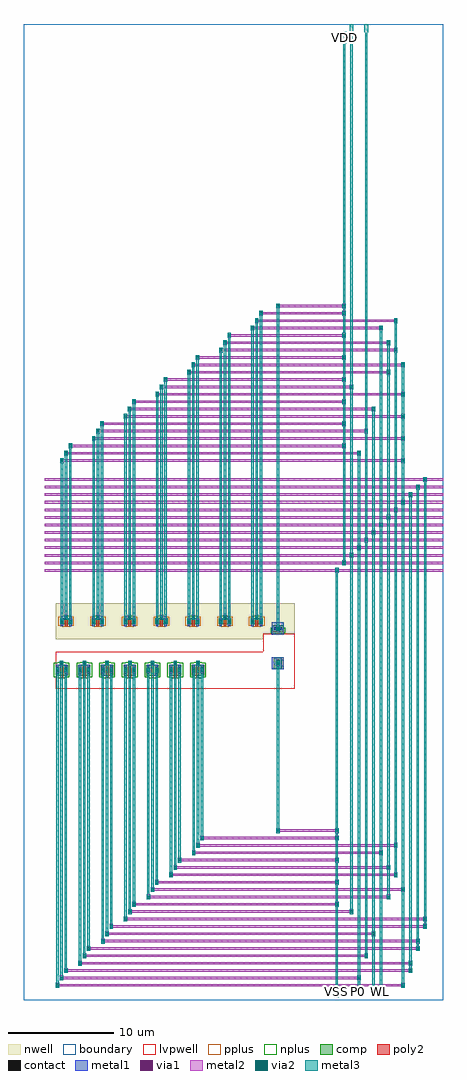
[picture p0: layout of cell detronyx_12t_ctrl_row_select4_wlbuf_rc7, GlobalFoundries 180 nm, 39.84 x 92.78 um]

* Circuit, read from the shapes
.subckt detronyx_12t_ctrl_row_select4_wlbuf_rc7 EN P0 P1 P2 VDD VSS WL
XM1 n1 P0 n2 VSS nfet_03v3 w=1.055u l=0.28u
XM2 n3 P1 n1 VSS nfet_03v3 w=1.055u l=0.28u
XM3 n4 P2 n3 VSS nfet_03v3 w=1.055u l=0.28u
XM4 VSS EN n4 VSS nfet_03v3 w=1.055u l=0.28u
XM5 VSS n2 n5 VSS nfet_03v3 w=1.055u l=0.28u
XM6 VSS n5 n6 VSS nfet_03v3 w=1.055u l=0.28u
XM7 VSS n6 WL VSS nfet_03v3 w=1.055u l=0.28u
XM8 VDD P0 n2 VDD pfet_03v3 w=0.56u l=0.2779u
XM9 VDD P1 n2 VDD pfet_03v3 w=0.56u l=0.2779u
XM10 VDD P2 n2 VDD pfet_03v3 w=0.56u l=0.2779u
XM11 VDD EN n2 VDD pfet_03v3 w=0.56u l=0.2779u
XM12 VDD n2 n5 VDD pfet_03v3 w=0.56u l=0.2779u
XM13 VDD n5 n6 VDD pfet_03v3 w=0.56u l=0.2779u
XM14 VDD n6 WL VDD pfet_03v3 w=0.56u l=0.2779u
.ends

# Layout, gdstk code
import gdstk
lib = gdstk.Library(unit=1e-6, precision=1e-09)
def R(c, l, rs):  # rectangles x0, y0, x1, y1
    for r in rs: c.add(gdstk.rectangle(r[:2], r[2:], *l))
def A(c, l, x, y, w, h, nx, ny, dx, dy):  # array of equal rectangles
    R(c, l, [(x+i*dx, y+j*dy, x+i*dx+w, y+j*dy+h) for i in range(nx) for j in range(ny)])
boundary = (0, 0)
nwell = (21, 0)
comp = (22, 0)
poly2 = (30, 0)
pplus = (31, 0)
nplus = (32, 0)
contact = (33, 0)
metal1 = (34, 0)
via1 = (35, 0)
metal2 = (36, 0)
via2 = (38, 0)
metal3 = (42, 0)
lvpwell = (204, 0)

detronyx_12t_ctrl_row_se = lib.new_cell('detronyx_12t_ctrl_row_select4_wlbuf_rc7')
R(detronyx_12t_ctrl_row_se, boundary, [(0,0,39.84,92.775)])
R(detronyx_12t_ctrl_row_se, nwell, [(3,34.295,22.74,34.8), (3,34.8,25.74,37.715)])
A(detronyx_12t_ctrl_row_se, comp, 3, 30.82, 1.16, 1.055, 7, 1, 2.16, 0)
A(detronyx_12t_ctrl_row_se, comp, 3.43, 35.725, 1.16, 0.555, 7, 1, 3.02, 0)
R(detronyx_12t_ctrl_row_se, comp, [(23.765,31.475,24.515,32.525), (23.615,35.015,24.665,35.615), (3.43,36.28,3.895,36.285), (4.125,36.28,4.59,36.285), (6.45,36.28,6.915,36.285), (7.145,36.28,7.61,36.285), (9.47,36.28,9.935,36.285), (10.165,36.28,10.63,36.285), (12.49,36.28,12.955,36.285), (13.185,36.28,13.65,36.285), (15.51,36.28,15.975,36.285), (16.205,36.28,16.67,36.285), (18.53,36.28,18.995,36.285), (19.225,36.28,19.69,36.285), (21.55,36.28,22.015,36.285), (22.245,36.28,22.71,36.285)])
A(detronyx_12t_ctrl_row_se, poly2, 3.44, 30.6, 0.28, 1.55, 7, 1, 2.16, 0)
A(detronyx_12t_ctrl_row_se, poly2, 3.87, 35.505, 0.28, 1.04, 7, 1, 3.02, 0)
A(detronyx_12t_ctrl_row_se, pplus, 3.64, 35.495, 0.74, 0.07, 7, 2, 3.02, 0.95)
A(detronyx_12t_ctrl_row_se, pplus, 3.27, 35.565, 1.48, 0.88, 7, 1, 3.02, 0)
R(detronyx_12t_ctrl_row_se, pplus, [(23.745,31.455,24.535,32.545)])
A(detronyx_12t_ctrl_row_se, nplus, 3.21, 30.59, 0.74, 0.07, 7, 2, 2.16, 1.445)
A(detronyx_12t_ctrl_row_se, nplus, 2.84, 30.66, 1.48, 1.375, 7, 1, 2.16, 0)
R(detronyx_12t_ctrl_row_se, nplus, [(23.455,34.855,24.825,35.39), (23.595,35.39,24.685,35.635)])
A(detronyx_12t_ctrl_row_se, contact, 3.47, 31.89, 0.22, 0.22, 7, 1, 2.16, 0)
A(detronyx_12t_ctrl_row_se, contact, 3.9, 36.285, 0.22, 0.22, 7, 1, 3.02, 0)
R(detronyx_12t_ctrl_row_se, contact, [(3.07,31,3.29,31.22), (3.87,31,4.09,31.22), (5.23,31,5.45,31.22), (6.03,31,6.25,31.22), (7.39,31,7.61,31.22), (8.19,31,8.41,31.22), (9.55,31,9.77,31.22), (10.35,31,10.57,31.22), (11.71,31,11.93,31.22), (12.51,31,12.73,31.22), (13.87,31,14.09,31.22), (14.67,31,14.89,31.22), (16.03,31,16.25,31.22), (16.83,31,17.05,31.22), (3.07,31.47,3.29,31.69), (3.87,31.47,4.09,31.69), (5.23,31.47,5.45,31.69), (6.03,31.47,6.25,31.69), (7.39,31.47,7.61,31.69), (8.19,31.47,8.41,31.69), (9.55,31.47,9.77,31.69), (10.35,31.47,10.57,31.69), (11.71,31.47,11.93,31.69), (12.51,31.47,12.73,31.69), (13.87,31.47,14.09,31.69), (14.67,31.47,14.89,31.69), (16.03,31.47,16.25,31.69), (16.83,31.47,17.05,31.69), (24.03,31.655,24.25,31.875), (24.03,32.125,24.25,32.345), (23.795,35.205,24.015,35.425), (24.265,35.205,24.485,35.425), (3.5,35.895,3.72,36.115), (4.3,35.895,4.52,36.115), (6.52,35.895,6.74,36.115), (7.32,35.895,7.54,36.115), (9.54,35.895,9.76,36.115), (10.34,35.895,10.56,36.115), (12.56,35.895,12.78,36.115), (13.36,35.895,13.58,36.115), (15.58,35.895,15.8,36.115), (16.38,35.895,16.6,36.115), (18.6,35.895,18.82,36.115), (19.4,35.895,19.62,36.115), (21.62,35.895,21.84,36.115), (22.42,35.895,22.64,36.115)])
A(detronyx_12t_ctrl_row_se, metal1, 3.42, 31.77, 0.325, 0.46, 7, 1, 2.16, 0)
A(detronyx_12t_ctrl_row_se, metal1, 3.85, 36.165, 0.325, 0.46, 7, 1, 3.02, 0)
R(detronyx_12t_ctrl_row_se, metal1, [(3.065,30.82,3.295,31.115), (3.865,30.82,4.095,31.115), (5.225,30.82,5.455,31.115), (6.025,30.82,6.255,31.115), (7.385,30.82,7.615,31.115), (8.185,30.82,8.415,31.115), (9.545,30.82,9.775,31.115), (10.345,30.82,10.575,31.115), (11.705,30.82,11.935,31.115), (12.505,30.82,12.735,31.115), (13.865,30.82,14.095,31.115), (14.665,30.82,14.895,31.115), (16.025,30.82,16.255,31.115), (16.825,30.82,17.055,31.115), (3.02,31.115,3.345,31.575), (3.82,31.115,4.145,31.575), (5.18,31.115,5.505,31.575), (5.98,31.115,6.305,31.575), (7.34,31.115,7.665,31.575), (8.14,31.115,8.465,31.575), (9.5,31.115,9.825,31.575), (10.3,31.115,10.625,31.575), (11.66,31.115,11.985,31.575), (12.46,31.115,12.785,31.575), (13.82,31.115,14.145,31.575), (14.62,31.115,14.945,31.575), (15.98,31.115,16.305,31.575), (16.78,31.115,17.105,31.575), (23.565,31.425,24.715,32.575), (3.065,31.575,3.295,31.875), (3.865,31.575,4.095,31.875), (5.225,31.575,5.455,31.875), (6.025,31.575,6.255,31.875), (7.385,31.575,7.615,31.875), (8.185,31.575,8.415,31.875), (9.545,31.575,9.775,31.875), (10.345,31.575,10.575,31.875), (11.705,31.575,11.935,31.875), (12.505,31.575,12.735,31.875), (13.865,31.575,14.095,31.875), (14.665,31.575,14.895,31.875), (16.025,31.575,16.255,31.875), (16.825,31.575,17.055,31.875), (23.565,34.74,24.715,35.89), (3.495,35.53,3.725,35.775), (4.295,35.53,4.525,35.775), (6.515,35.53,6.745,35.775), (7.315,35.53,7.545,35.775), (9.535,35.53,9.765,35.775), (10.335,35.53,10.565,35.775), (12.555,35.53,12.785,35.775), (13.355,35.53,13.585,35.775), (15.575,35.53,15.805,35.775), (16.375,35.53,16.605,35.775), (18.595,35.53,18.825,35.775), (19.395,35.53,19.625,35.775), (21.615,35.53,21.845,35.775), (22.415,35.53,22.645,35.775), (3.45,35.775,3.775,36.235), (4.25,35.775,4.575,36.235), (6.47,35.775,6.795,36.235), (7.27,35.775,7.595,36.235), (9.49,35.775,9.815,36.235), (10.29,35.775,10.615,36.235), (12.51,35.775,12.835,36.235), (13.31,35.775,13.635,36.235), (15.53,35.775,15.855,36.235), (16.33,35.775,16.655,36.235), (18.55,35.775,18.875,36.235), (19.35,35.775,19.675,36.235), (21.57,35.775,21.895,36.235), (22.37,35.775,22.695,36.235), (3.495,36.235,3.725,36.48), (4.295,36.235,4.525,36.48), (6.515,36.235,6.745,36.48), (7.315,36.235,7.545,36.48), (9.535,36.235,9.765,36.48), (10.335,36.235,10.565,36.48), (12.555,36.235,12.785,36.48), (13.355,36.235,13.585,36.48), (15.575,36.235,15.805,36.48), (16.375,36.235,16.605,36.48), (18.595,36.235,18.825,36.48), (19.395,36.235,19.625,36.48), (21.615,36.235,21.845,36.48), (22.415,36.235,22.645,36.48)])
A(detronyx_12t_ctrl_row_se, via1, 3.45, 31.87, 0.26, 0.26, 7, 1, 2.16, 0)
A(detronyx_12t_ctrl_row_se, via1, 3.88, 36.265, 0.26, 0.26, 7, 1, 3.02, 0)
R(detronyx_12t_ctrl_row_se, via1, [(3.05,31.215,3.31,31.475), (3.85,31.215,4.11,31.475), (5.21,31.215,5.47,31.475), (6.01,31.215,6.27,31.475), (7.37,31.215,7.63,31.475), (8.17,31.215,8.43,31.475), (9.53,31.215,9.79,31.475), (10.33,31.215,10.59,31.475), (11.69,31.215,11.95,31.475), (12.49,31.215,12.75,31.475), (13.85,31.215,14.11,31.475), (14.65,31.215,14.91,31.475), (16.01,31.215,16.27,31.475), (16.81,31.215,17.07,31.475), (24.01,31.87,24.27,32.13), (24.01,35.185,24.27,35.445), (3.48,35.875,3.74,36.135), (4.28,35.875,4.54,36.135), (6.5,35.875,6.76,36.135), (7.3,35.875,7.56,36.135), (9.52,35.875,9.78,36.135), (10.32,35.875,10.58,36.135), (12.54,35.875,12.8,36.135), (13.34,35.875,13.6,36.135), (15.56,35.875,15.82,36.135), (16.36,35.875,16.62,36.135), (18.58,35.875,18.84,36.135), (19.38,35.875,19.64,36.135), (21.6,35.875,21.86,36.135), (22.4,35.875,22.66,36.135)])
A(detronyx_12t_ctrl_row_se, metal2, 3.42, 31.77, 0.325, 0.46, 7, 1, 2.16, 0)
A(detronyx_12t_ctrl_row_se, metal2, 3.85, 36.165, 0.325, 0.46, 7, 1, 3.02, 0)
A(detronyx_12t_ctrl_row_se, metal2, 2, 40.715, 37.84, 0.24, 1, 13, 0, 0.72)
R(detronyx_12t_ctrl_row_se, metal2, [(3.02,1.17,3.345,1.29), (35.88,1.17,36.205,1.29), (3.02,1.29,36.205,1.51), (3.02,1.51,3.345,1.63), (35.88,1.51,36.205,1.63), (3.42,1.87,3.745,1.99), (31.68,1.87,32.005,1.99), (3.42,1.99,32.005,2.21), (3.42,2.21,3.745,2.33), (31.68,2.21,32.005,2.33), (3.82,2.57,4.145,2.69), (36.58,2.57,36.905,2.69), (3.82,2.69,36.905,2.91), (3.82,2.91,4.145,3.03), (36.58,2.91,36.905,3.03), (5.18,3.27,5.505,3.39), (36.58,3.27,36.905,3.39), (5.18,3.39,36.905,3.61), (5.18,3.61,5.505,3.73), (36.58,3.61,36.905,3.73), (5.58,3.97,5.905,4.09), (32.38,3.97,32.705,4.09), (5.58,4.09,32.705,4.31), (5.58,4.31,5.905,4.43), (32.38,4.31,32.705,4.43), (5.98,4.67,6.305,4.79), (37.28,4.67,37.605,4.79), (5.98,4.79,37.605,5.01), (5.98,5.01,6.305,5.13), (37.28,5.01,37.605,5.13), (7.34,5.37,7.665,5.49), (37.28,5.37,37.605,5.49), (7.34,5.49,37.605,5.71), (7.34,5.71,7.665,5.83), (37.28,5.71,37.605,5.83), (7.74,6.07,8.065,6.19), (33.08,6.07,33.405,6.19), (7.74,6.19,33.405,6.41), (7.74,6.41,8.065,6.53), (33.08,6.41,33.405,6.53), (8.14,6.77,8.465,6.89), (37.98,6.77,38.305,6.89), (8.14,6.89,38.305,7.11), (8.14,7.11,8.465,7.23), (37.98,7.11,38.305,7.23), (9.5,7.47,9.825,7.59), (37.98,7.47,38.305,7.59), (9.5,7.59,38.305,7.81), (9.5,7.81,9.825,7.93), (37.98,7.81,38.305,7.93), (9.9,8.17,10.225,8.29), (30.98,8.17,31.305,8.29), (9.9,8.29,31.305,8.51), (9.9,8.51,10.225,8.63), (30.98,8.51,31.305,8.63), (10.3,8.87,10.625,8.99), (29.58,8.87,29.905,8.99), (10.3,8.99,29.905,9.21), (10.3,9.21,10.625,9.33), (29.58,9.21,29.905,9.33), (11.66,9.57,11.985,9.69), (34.48,9.57,34.805,9.69), (11.66,9.69,34.805,9.91), (11.66,9.91,11.985,10.03), (34.48,9.91,34.805,10.03), (12.06,10.27,12.385,10.39), (35.88,10.27,36.205,10.39), (12.06,10.39,36.205,10.61), (12.06,10.61,12.385,10.73), (35.88,10.61,36.205,10.73), (12.46,10.97,12.785,11.09), (29.58,10.97,29.905,11.09), (12.46,11.09,29.905,11.31), (12.46,11.31,12.785,11.43), (29.58,11.31,29.905,11.43), (13.82,11.67,14.145,11.79), (35.18,11.67,35.505,11.79), (13.82,11.79,35.505,12.01), (13.82,12.01,14.145,12.13), (35.18,12.01,35.505,12.13), (14.22,12.37,14.545,12.49), (34.48,12.37,34.805,12.49), (14.22,12.49,34.805,12.71), (14.22,12.71,14.545,12.83), (34.48,12.71,34.805,12.83), (14.62,13.07,14.945,13.19), (29.58,13.07,29.905,13.19), (14.62,13.19,29.905,13.41), (14.62,13.41,14.945,13.53), (29.58,13.41,29.905,13.53), (15.98,13.77,16.305,13.89), (33.78,13.77,34.105,13.89), (15.98,13.89,34.105,14.11), (15.98,14.11,16.305,14.23), (33.78,14.11,34.105,14.23), (16.38,14.47,16.705,14.59), (35.18,14.47,35.505,14.59), (16.38,14.59,35.505,14.81), (16.38,14.81,16.705,14.93), (35.18,14.81,35.505,14.93), (16.78,15.17,17.105,15.29), (29.58,15.17,29.905,15.29), (16.78,15.29,29.905,15.51), (16.78,15.51,17.105,15.63), (29.58,15.51,29.905,15.63), (23.98,15.87,24.305,15.99), (29.58,15.87,29.905,15.99), (23.98,15.99,29.905,16.21), (23.98,16.21,24.305,16.33), (29.58,16.21,29.905,16.33), (3.02,31.115,3.345,31.575), (3.82,31.115,4.145,31.575), (5.18,31.115,5.505,31.575), (5.98,31.115,6.305,31.575), (7.34,31.115,7.665,31.575), (8.14,31.115,8.465,31.575), (9.5,31.115,9.825,31.575), (10.3,31.115,10.625,31.575), (11.66,31.115,11.985,31.575), (12.46,31.115,12.785,31.575), (13.82,31.115,14.145,31.575), (14.62,31.115,14.945,31.575), (15.98,31.115,16.305,31.575), (16.78,31.115,17.105,31.575), (23.98,31.77,24.305,32.23), (23.98,35.085,24.305,35.545), (3.45,35.775,3.775,36.235), (4.25,35.775,4.575,36.235), (6.47,35.775,6.795,36.235), (7.27,35.775,7.595,36.235), (9.49,35.775,9.815,36.235), (10.29,35.775,10.615,36.235), (12.51,35.775,12.835,36.235), (13.31,35.775,13.635,36.235), (15.53,35.775,15.855,36.235), (16.33,35.775,16.655,36.235), (18.55,35.775,18.875,36.235), (19.35,35.775,19.675,36.235), (21.57,35.775,21.895,36.235), (22.37,35.775,22.695,36.235), (29.58,40.605,29.905,40.715), (29.58,40.955,29.905,41.065), (30.28,41.325,30.605,41.435), (30.28,41.675,30.605,41.785), (30.98,42.045,31.305,42.155), (30.98,42.395,31.305,42.505), (31.68,42.765,32.005,42.875), (31.68,43.115,32.005,43.225), (32.38,43.485,32.705,43.595), (32.38,43.835,32.705,43.945), (33.08,44.205,33.405,44.315), (33.08,44.555,33.405,44.665), (33.78,44.925,34.105,45.035), (33.78,45.275,34.105,45.385), (34.48,45.645,34.805,45.755), (34.48,45.995,34.805,46.105), (35.18,46.365,35.505,46.475), (35.18,46.715,35.505,46.825), (35.88,47.085,36.205,47.195), (35.88,47.435,36.205,47.545), (36.58,47.805,36.905,47.915), (36.58,48.155,36.905,48.265), (37.28,48.525,37.605,48.635), (37.28,48.875,37.605,48.985), (37.98,49.245,38.305,49.355), (37.98,49.595,38.305,49.705), (3.45,51.045,3.775,51.165), (35.88,51.045,36.205,51.165), (3.45,51.165,36.205,51.385), (3.45,51.385,3.775,51.505), (35.88,51.385,36.205,51.505), (3.85,51.745,4.175,51.865), (31.68,51.745,32.005,51.865), (3.85,51.865,32.005,52.085), (3.85,52.085,4.175,52.205), (31.68,52.085,32.005,52.205), (4.25,52.445,4.575,52.565), (30.28,52.445,30.605,52.565), (4.25,52.565,30.605,52.785), (4.25,52.785,4.575,52.905), (30.28,52.785,30.605,52.905), (6.47,53.145,6.795,53.265), (35.88,53.145,36.205,53.265), (6.47,53.265,36.205,53.485), (6.47,53.485,6.795,53.605), (35.88,53.485,36.205,53.605), (6.87,53.845,7.195,53.965), (32.38,53.845,32.705,53.965), (6.87,53.965,32.705,54.185), (6.87,54.185,7.195,54.305), (32.38,54.185,32.705,54.305), (7.27,54.545,7.595,54.665), (30.28,54.545,30.605,54.665), (7.27,54.665,30.605,54.885), (7.27,54.885,7.595,55.005), (30.28,54.885,30.605,55.005), (9.49,55.245,9.815,55.365), (35.88,55.245,36.205,55.365), (9.49,55.365,36.205,55.585), (9.49,55.585,9.815,55.705), (35.88,55.585,36.205,55.705), (9.89,55.945,10.215,56.065), (33.08,55.945,33.405,56.065), (9.89,56.065,33.405,56.285), (9.89,56.285,10.215,56.405), (33.08,56.285,33.405,56.405), (10.29,56.645,10.615,56.765), (30.28,56.645,30.605,56.765), (10.29,56.765,30.605,56.985), (10.29,56.985,10.615,57.105), (30.28,56.985,30.605,57.105), (12.51,57.345,12.835,57.465), (35.88,57.345,36.205,57.465), (12.51,57.465,36.205,57.685), (12.51,57.685,12.835,57.805), (35.88,57.685,36.205,57.805), (12.91,58.045,13.235,58.165), (30.98,58.045,31.305,58.165), (12.91,58.165,31.305,58.385), (12.91,58.385,13.235,58.505), (30.98,58.385,31.305,58.505), (13.31,58.745,13.635,58.865), (30.28,58.745,30.605,58.865), (13.31,58.865,30.605,59.085), (13.31,59.085,13.635,59.205), (30.28,59.085,30.605,59.205), (15.53,59.445,15.855,59.565), (34.48,59.445,34.805,59.565), (15.53,59.565,34.805,59.785), (15.53,59.785,15.855,59.905), (34.48,59.785,34.805,59.905), (15.93,60.145,16.255,60.265), (35.88,60.145,36.205,60.265), (15.93,60.265,36.205,60.485), (15.93,60.485,16.255,60.605), (35.88,60.485,36.205,60.605), (16.33,60.845,16.655,60.965), (30.28,60.845,30.605,60.965), (16.33,60.965,30.605,61.185), (16.33,61.185,16.655,61.305), (30.28,61.185,30.605,61.305), (18.55,61.545,18.875,61.665), (35.18,61.545,35.505,61.665), (18.55,61.665,35.505,61.885), (18.55,61.885,18.875,62.005), (35.18,61.885,35.505,62.005), (18.95,62.245,19.275,62.365), (34.48,62.245,34.805,62.365), (18.95,62.365,34.805,62.585), (18.95,62.585,19.275,62.705), (34.48,62.585,34.805,62.705), (19.35,62.945,19.675,63.065), (30.28,62.945,30.605,63.065), (19.35,63.065,30.605,63.285), (19.35,63.285,19.675,63.405), (30.28,63.285,30.605,63.405), (21.57,63.645,21.895,63.765), (33.78,63.645,34.105,63.765), (21.57,63.765,34.105,63.985), (21.57,63.985,21.895,64.105), (33.78,63.985,34.105,64.105), (21.97,64.345,22.295,64.465), (35.18,64.345,35.505,64.465), (21.97,64.465,35.505,64.685), (21.97,64.685,22.295,64.805), (35.18,64.685,35.505,64.805), (22.37,65.045,22.695,65.165), (30.28,65.045,30.605,65.165), (22.37,65.165,30.605,65.385), (22.37,65.385,22.695,65.505), (30.28,65.385,30.605,65.505), (23.98,65.745,24.305,65.865), (30.28,65.745,30.605,65.865), (23.98,65.865,30.605,66.085), (23.98,66.085,24.305,66.205), (30.28,66.085,30.605,66.205)])
A(detronyx_12t_ctrl_row_se, via2, 29.61, 8.97, 0.26, 0.26, 1, 4, 0, 2.1)
A(detronyx_12t_ctrl_row_se, via2, 3.45, 31.87, 0.26, 0.26, 7, 1, 2.16, 0)
A(detronyx_12t_ctrl_row_se, via2, 3.88, 36.265, 0.26, 0.26, 7, 1, 3.02, 0)
A(detronyx_12t_ctrl_row_se, via2, 35.91, 51.145, 0.26, 0.26, 1, 4, 0, 2.1)
A(detronyx_12t_ctrl_row_se, via2, 30.31, 52.545, 0.26, 0.26, 1, 7, 0, 2.1)
R(detronyx_12t_ctrl_row_se, via2, [(3.05,1.27,3.31,1.53), (35.91,1.27,36.17,1.53), (3.45,1.97,3.71,2.23), (31.71,1.97,31.97,2.23), (3.85,2.67,4.11,2.93), (36.61,2.67,36.87,2.93), (5.21,3.37,5.47,3.63), (36.61,3.37,36.87,3.63), (5.61,4.07,5.87,4.33), (32.41,4.07,32.67,4.33), (6.01,4.77,6.27,5.03), (37.31,4.77,37.57,5.03), (7.37,5.47,7.63,5.73), (37.31,5.47,37.57,5.73), (7.77,6.17,8.03,6.43), (33.11,6.17,33.37,6.43), (8.17,6.87,8.43,7.13), (38.01,6.87,38.27,7.13), (9.53,7.57,9.79,7.83), (38.01,7.57,38.27,7.83), (9.93,8.27,10.19,8.53), (31.01,8.27,31.27,8.53), (10.33,8.97,10.59,9.23), (11.69,9.67,11.95,9.93), (34.51,9.67,34.77,9.93), (12.09,10.37,12.35,10.63), (35.91,10.37,36.17,10.63), (12.49,11.07,12.75,11.33), (13.85,11.77,14.11,12.03), (35.21,11.77,35.47,12.03), (14.25,12.47,14.51,12.73), (34.51,12.47,34.77,12.73), (14.65,13.17,14.91,13.43), (16.01,13.87,16.27,14.13), (33.81,13.87,34.07,14.13), (16.41,14.57,16.67,14.83), (35.21,14.57,35.47,14.83), (16.81,15.27,17.07,15.53), (24.01,15.97,24.27,16.23), (29.61,15.97,29.87,16.23), (3.05,31.215,3.31,31.475), (3.85,31.215,4.11,31.475), (5.21,31.215,5.47,31.475), (6.01,31.215,6.27,31.475), (7.37,31.215,7.63,31.475), (8.17,31.215,8.43,31.475), (9.53,31.215,9.79,31.475), (10.33,31.215,10.59,31.475), (11.69,31.215,11.95,31.475), (12.49,31.215,12.75,31.475), (13.85,31.215,14.11,31.475), (14.65,31.215,14.91,31.475), (16.01,31.215,16.27,31.475), (16.81,31.215,17.07,31.475), (24.01,31.87,24.27,32.13), (24.01,35.185,24.27,35.445), (3.48,35.875,3.74,36.135), (4.28,35.875,4.54,36.135), (6.5,35.875,6.76,36.135), (7.3,35.875,7.56,36.135), (9.52,35.875,9.78,36.135), (10.32,35.875,10.58,36.135), (12.54,35.875,12.8,36.135), (13.34,35.875,13.6,36.135), (15.56,35.875,15.82,36.135), (16.36,35.875,16.62,36.135), (18.58,35.875,18.84,36.135), (19.38,35.875,19.64,36.135), (21.6,35.875,21.86,36.135), (22.4,35.875,22.66,36.135), (29.61,40.705,29.87,40.965), (30.31,41.425,30.57,41.685), (31.01,42.145,31.27,42.405), (31.71,42.865,31.97,43.125), (32.41,43.585,32.67,43.845), (33.11,44.305,33.37,44.565), (33.81,45.025,34.07,45.285), (34.51,45.745,34.77,46.005), (35.21,46.465,35.47,46.725), (35.91,47.185,36.17,47.445), (36.61,47.905,36.87,48.165), (37.31,48.625,37.57,48.885), (38.01,49.345,38.27,49.605), (3.48,51.145,3.74,51.405), (3.88,51.845,4.14,52.105), (31.71,51.845,31.97,52.105), (4.28,52.545,4.54,52.805), (6.5,53.245,6.76,53.505), (6.9,53.945,7.16,54.205), (32.41,53.945,32.67,54.205), (7.3,54.645,7.56,54.905), (9.52,55.345,9.78,55.605), (9.92,56.045,10.18,56.305), (33.11,56.045,33.37,56.305), (10.32,56.745,10.58,57.005), (12.54,57.445,12.8,57.705), (12.94,58.145,13.2,58.405), (31.01,58.145,31.27,58.405), (13.34,58.845,13.6,59.105), (15.56,59.545,15.82,59.805), (34.51,59.545,34.77,59.805), (15.96,60.245,16.22,60.505), (35.91,60.245,36.17,60.505), (16.36,60.945,16.62,61.205), (18.58,61.645,18.84,61.905), (35.21,61.645,35.47,61.905), (18.98,62.345,19.24,62.605), (34.51,62.345,34.77,62.605), (19.38,63.045,19.64,63.305), (21.6,63.745,21.86,64.005), (33.81,63.745,34.07,64.005), (22,64.445,22.26,64.705), (35.21,64.445,35.47,64.705), (22.4,65.145,22.66,65.405), (24.01,65.845,24.27,66.105), (30.31,65.845,30.57,66.105)])
A(detronyx_12t_ctrl_row_se, metal3, 29.58, 8.87, 0.325, 0.46, 1, 4, 0, 2.1)
A(detronyx_12t_ctrl_row_se, metal3, 29.63, 9.33, 0.22, 1.64, 1, 3, 0, 2.1)
A(detronyx_12t_ctrl_row_se, metal3, 3.42, 31.77, 0.325, 0.46, 7, 1, 2.16, 0)
A(detronyx_12t_ctrl_row_se, metal3, 3.85, 36.165, 0.325, 0.46, 7, 1, 3.02, 0)
A(detronyx_12t_ctrl_row_se, metal3, 35.88, 51.045, 0.325, 0.46, 1, 4, 0, 2.1)
A(detronyx_12t_ctrl_row_se, metal3, 35.93, 51.505, 0.22, 1.64, 1, 3, 0, 2.1)
A(detronyx_12t_ctrl_row_se, metal3, 30.28, 52.445, 0.325, 0.46, 1, 7, 0, 2.1)
A(detronyx_12t_ctrl_row_se, metal3, 30.33, 52.905, 0.22, 1.64, 1, 6, 0, 2.1)
R(detronyx_12t_ctrl_row_se, metal3, [(29.56,0.2,29.92,1.4), (31.66,0.4,32.02,1.2), (33.06,0.4,33.42,1.2), (33.76,0.4,34.12,1.2), (3.02,1.17,3.345,1.63), (35.88,1.17,36.205,1.63), (31.73,1.2,31.95,1.87), (33.13,1.2,33.35,6.07), (33.83,1.2,34.05,13.77), (29.63,1.4,29.85,8.87), (3.07,1.63,3.29,31.115), (35.93,1.63,36.15,10.27), (3.42,1.87,3.745,2.33), (31.68,1.87,32.005,2.33), (3.47,2.33,3.69,31.77), (31.73,2.33,31.95,42.765), (3.82,2.57,4.145,3.03), (36.58,2.57,36.905,3.03), (3.87,3.03,4.09,31.115), (36.63,3.03,36.85,3.27), (5.18,3.27,5.505,3.73), (36.58,3.27,36.905,3.73), (5.23,3.73,5.45,31.115), (36.63,3.73,36.85,47.805), (5.58,3.97,5.905,4.43), (32.38,3.97,32.705,4.43), (5.63,4.43,5.85,31.77), (32.43,4.43,32.65,43.485), (5.98,4.67,6.305,5.13), (37.28,4.67,37.605,5.13), (6.03,5.13,6.25,31.115), (37.33,5.13,37.55,5.37), (7.34,5.37,7.665,5.83), (37.28,5.37,37.605,5.83), (7.39,5.83,7.61,31.115), (37.33,5.83,37.55,48.525), (7.74,6.07,8.065,6.53), (33.08,6.07,33.405,6.53), (7.79,6.53,8.01,31.77), (33.13,6.53,33.35,44.205), (8.14,6.77,8.465,7.23), (37.98,6.77,38.305,7.23), (8.19,7.23,8.41,31.115), (38.03,7.23,38.25,7.47), (9.5,7.47,9.825,7.93), (37.98,7.47,38.305,7.93), (9.55,7.93,9.77,31.115), (38.03,7.93,38.25,49.245), (9.9,8.17,10.225,8.63), (30.98,8.17,31.305,8.63), (9.95,8.63,10.17,31.77), (31.03,8.63,31.25,42.045), (10.3,8.87,10.625,9.33), (10.35,9.33,10.57,31.115), (11.66,9.57,11.985,10.03), (34.48,9.57,34.805,10.03), (11.71,10.03,11.93,31.115), (34.53,10.03,34.75,12.37), (12.06,10.27,12.385,10.73), (35.88,10.27,36.205,10.73), (12.11,10.73,12.33,31.77), (35.93,10.73,36.15,47.085), (12.46,10.97,12.785,11.43), (12.51,11.43,12.73,31.115), (13.82,11.67,14.145,12.13), (35.18,11.67,35.505,12.13), (13.87,12.13,14.09,31.115), (35.23,12.13,35.45,14.47), (14.22,12.37,14.545,12.83), (34.48,12.37,34.805,12.83), (14.27,12.83,14.49,31.77), (34.53,12.83,34.75,45.645), (14.62,13.07,14.945,13.53), (14.67,13.53,14.89,31.115), (15.98,13.77,16.305,14.23), (33.78,13.77,34.105,14.23), (16.03,14.23,16.25,31.115), (33.83,14.23,34.05,44.925), (16.38,14.47,16.705,14.93), (35.18,14.47,35.505,14.93), (16.43,14.93,16.65,31.77), (35.23,14.93,35.45,46.365), (16.78,15.17,17.105,15.63), (16.83,15.63,17.05,31.115), (29.63,15.63,29.85,15.87), (23.98,15.87,24.305,16.33), (29.58,15.87,29.905,16.33), (24.03,16.33,24.25,31.77), (29.63,16.33,29.85,40.605), (3.02,31.115,3.345,31.575), (3.82,31.115,4.145,31.575), (5.18,31.115,5.505,31.575), (5.98,31.115,6.305,31.575), (7.34,31.115,7.665,31.575), (8.14,31.115,8.465,31.575), (9.5,31.115,9.825,31.575), (10.3,31.115,10.625,31.575), (11.66,31.115,11.985,31.575), (12.46,31.115,12.785,31.575), (13.82,31.115,14.145,31.575), (14.62,31.115,14.945,31.575), (15.98,31.115,16.305,31.575), (16.78,31.115,17.105,31.575), (23.98,31.77,24.305,32.23), (23.98,35.085,24.305,35.545), (24.03,35.545,24.25,65.745), (3.45,35.775,3.775,36.235), (4.25,35.775,4.575,36.235), (6.47,35.775,6.795,36.235), (7.27,35.775,7.595,36.235), (9.49,35.775,9.815,36.235), (10.29,35.775,10.615,36.235), (12.51,35.775,12.835,36.235), (13.31,35.775,13.635,36.235), (15.53,35.775,15.855,36.235), (16.33,35.775,16.655,36.235), (18.55,35.775,18.875,36.235), (19.35,35.775,19.675,36.235), (21.57,35.775,21.895,36.235), (22.37,35.775,22.695,36.235), (3.5,36.235,3.72,51.045), (4.3,36.235,4.52,52.445), (6.52,36.235,6.74,53.145), (7.32,36.235,7.54,54.545), (9.54,36.235,9.76,55.245), (10.34,36.235,10.56,56.645), (12.56,36.235,12.78,57.345), (13.36,36.235,13.58,58.745), (15.58,36.235,15.8,59.445), (16.38,36.235,16.6,60.845), (18.6,36.235,18.82,61.545), (19.4,36.235,19.62,62.945), (21.62,36.235,21.84,63.645), (22.42,36.235,22.64,65.045), (3.9,36.625,4.12,51.745), (6.92,36.625,7.14,53.845), (9.94,36.625,10.16,55.945), (12.96,36.625,13.18,58.045), (15.98,36.625,16.2,60.145), (19,36.625,19.22,62.245), (22.02,36.625,22.24,64.345), (29.58,40.605,29.905,41.065), (30.28,41.325,30.605,41.785), (30.33,41.785,30.55,52.445), (30.98,42.045,31.305,42.505), (31.03,42.505,31.25,58.045), (31.68,42.765,32.005,43.225), (31.73,43.225,31.95,51.745), (32.38,43.485,32.705,43.945), (32.43,43.945,32.65,53.845), (33.08,44.205,33.405,44.665), (33.13,44.665,33.35,55.945), (33.78,44.925,34.105,45.385), (33.83,45.385,34.05,63.645), (34.48,45.645,34.805,46.105), (34.53,46.105,34.75,59.445), (35.18,46.365,35.505,46.825), (35.23,46.825,35.45,61.545), (35.88,47.085,36.205,47.545), (35.93,47.545,36.15,51.045), (36.58,47.805,36.905,48.265), (37.28,48.525,37.605,48.985), (37.98,49.245,38.305,49.705), (3.45,51.045,3.775,51.505), (3.85,51.745,4.175,52.205), (31.68,51.745,32.005,52.205), (4.25,52.445,4.575,52.905), (6.47,53.145,6.795,53.605), (6.87,53.845,7.195,54.305), (32.38,53.845,32.705,54.305), (32.43,54.305,32.65,91.975), (7.27,54.545,7.595,55.005), (9.49,55.245,9.815,55.705), (9.89,55.945,10.215,56.405), (33.08,55.945,33.405,56.405), (10.29,56.645,10.615,57.105), (12.51,57.345,12.835,57.805), (35.93,57.805,36.15,60.145), (12.91,58.045,13.235,58.505), (30.98,58.045,31.305,58.505), (31.03,58.505,31.25,91.975), (13.31,58.745,13.635,59.205), (15.53,59.445,15.855,59.905), (34.48,59.445,34.805,59.905), (34.53,59.905,34.75,62.245), (15.93,60.145,16.255,60.605), (35.88,60.145,36.205,60.605), (16.33,60.845,16.655,61.305), (18.55,61.545,18.875,62.005), (35.18,61.545,35.505,62.005), (35.23,62.005,35.45,64.345), (18.95,62.245,19.275,62.705), (34.48,62.245,34.805,62.705), (19.35,62.945,19.675,63.405), (21.57,63.645,21.895,64.105), (33.78,63.645,34.105,64.105), (21.97,64.345,22.295,64.805), (35.18,64.345,35.505,64.805), (22.37,65.045,22.695,65.505), (30.33,65.505,30.55,65.745), (23.98,65.745,24.305,66.205), (30.28,65.745,30.605,66.205), (30.33,66.205,30.55,90.875), (30.26,90.875,30.62,92.075), (30.96,91.975,31.32,92.775), (32.36,91.975,32.72,92.775)])
R(detronyx_12t_ctrl_row_se, lvpwell, [(3,29.6,25.74,33.095), (22.74,33.095,25.74,34.8)])
detronyx_12t_ctrl_row_se.add(gdstk.Label('VDD', (30.44,91.475), layer=42, texttype=10))
detronyx_12t_ctrl_row_se.add(gdstk.Label('VSS', (29.74,0.8), layer=42, texttype=10))
detronyx_12t_ctrl_row_se.add(gdstk.Label('P0', (31.84,0.8), layer=42, texttype=10))
detronyx_12t_ctrl_row_se.add(gdstk.Label('P1', (32.54,92.375), layer=42, texttype=10))
detronyx_12t_ctrl_row_se.add(gdstk.Label('P2', (33.24,0.8), layer=42, texttype=10))
detronyx_12t_ctrl_row_se.add(gdstk.Label('EN', (31.14,92.375), layer=42, texttype=10))
detronyx_12t_ctrl_row_se.add(gdstk.Label('WL', (33.94,0.8), layer=42, texttype=10))

lib.write_gds('detronyx_12t_ctrl_row_select4_wlbuf_rc7.gds')
